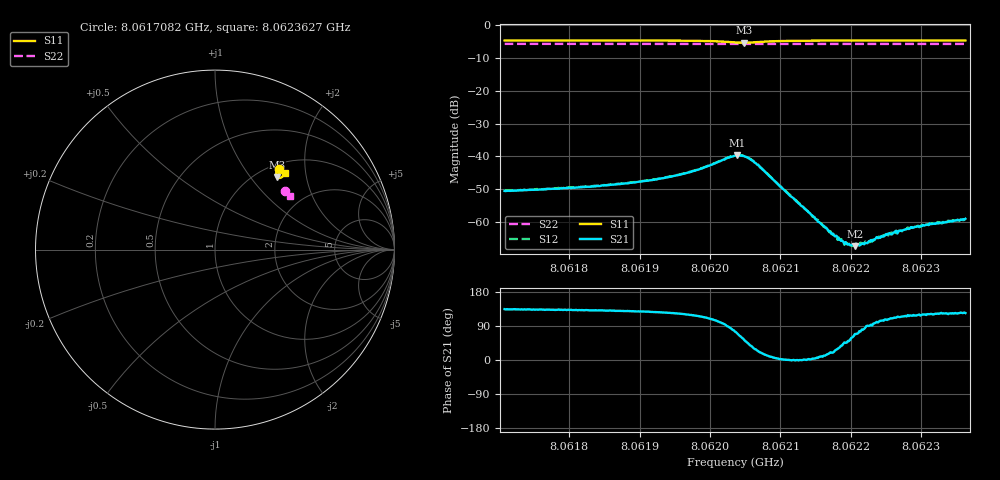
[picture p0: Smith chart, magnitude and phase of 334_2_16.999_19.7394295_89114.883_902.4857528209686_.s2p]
#  HZ  S  RI  R  50.00
! Rohde & Schwarz Vector Network Analyzer
! Rohde-Schwarz,ZNB20-2Port,1311601062101988,3.16
! Created: UTC 3/20/2024, 11:07:02 PM
! freq[Hz]  re:S11  im:S11  re:S21  im:S21  re:S12  im:S12  re:S22  im:S22
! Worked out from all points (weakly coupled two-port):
!   401 points, 8.0617082 GHz to 8.0623627 GHz, reference 50 ohm
!   highest |S21| = -39.63 dB at 8.0620387 GHz (marker M1); lowest = -67.2 dB at 8.0622056 GHz (marker M2)
!   lowest |S11| = -5.5 dB at 8.0620485 GHz (marker M3), VSWR 3.27, Z = 60.5 + j68.3 ohm
!   |S11| at or under -10 dB: nowhere
!   |S22| runs from -5.9 to -5.8 dB; largest |S21 - S12| = 0.0008
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8.06170817e9  0.3591 0.4504  -0.00209 0.00215  -0.00196 0.0023  0.3918 0.3283
8.06181781e9  0.3665 0.4438  -0.00228 0.00255  -0.0021 0.0027  0.396 0.3228
8.06188163e9  0.3713 0.4391  -0.00246 0.00303  -0.00231 0.00321  0.3986 0.3197
8.06192745e9  0.3752 0.4343  -0.0027 0.00371  -0.00249 0.00389  0.4001 0.3173
8.06198145e9  0.3797 0.4235  -0.00277 0.00558  -0.00245 0.00582  0.4021 0.3141
8.06203546e9  0.3609 0.399  0.00266 0.00994  0.00322 0.00985  0.4026 0.3108
8.06203873e9  0.3567 0.3991  0.00358 0.0098  0.00412 0.00963  0.4028 0.3107
8.06204855e9  0.3453 0.4048  0.00609 0.00808  0.00654 0.00773  0.4026 0.3107
8.06205837e9  0.3398 0.416  0.0071 0.00537  0.00749 0.00489  0.4029 0.3109
8.06206819e9  0.3408 0.4264  0.00682 0.00296  0.00707 0.00251  0.4034 0.3108
8.0621451e9  0.3678 0.4384  0.00128 7.4e-05  0.00123 -2.28e-05  0.4075 0.3074
8.06217292e9  0.3722 0.4369  0.000627 0.000218  0.000644 0.000172  0.4086 0.306
8.06218764e9  0.374 0.4359  0.000414 0.000327  0.000442 0.000316  0.4092 0.3053
8.06219419e9  0.3748 0.4355  0.000326 0.000336  0.000363 0.000318  0.4094 0.3048
8.06220565e9  0.3761 0.4346  0.000159 0.000405  0.000177 0.000419  0.4098 0.3042
8.06222201e9  0.3777 0.4338  4.61e-06 0.000487  2.47e-05 0.000489  0.4103 0.3033
8.0622351e9  0.3788 0.433  -8.44e-05 0.00056  -4.04e-05 0.00057  0.411 0.3027
8.06225474e9  0.3806 0.4319  -0.000211 0.000653  -0.000161 0.000651  0.4116 0.3016
8.06227601e9  0.3822 0.4306  -0.000331 0.000695  -0.000294 0.000715  0.4124 0.3006
8.06228419e9  0.3829 0.4302  -0.000377 0.00072  -0.000339 0.000752  0.4127 0.3001
8.06233492e9  0.3866 0.4272  -0.000557 0.000849  -0.000519 0.000894  0.4145 0.2976
8.06236274e9  0.3884 0.4256  -0.000632 0.000938  -0.000601 0.000956  0.4155 0.2962
